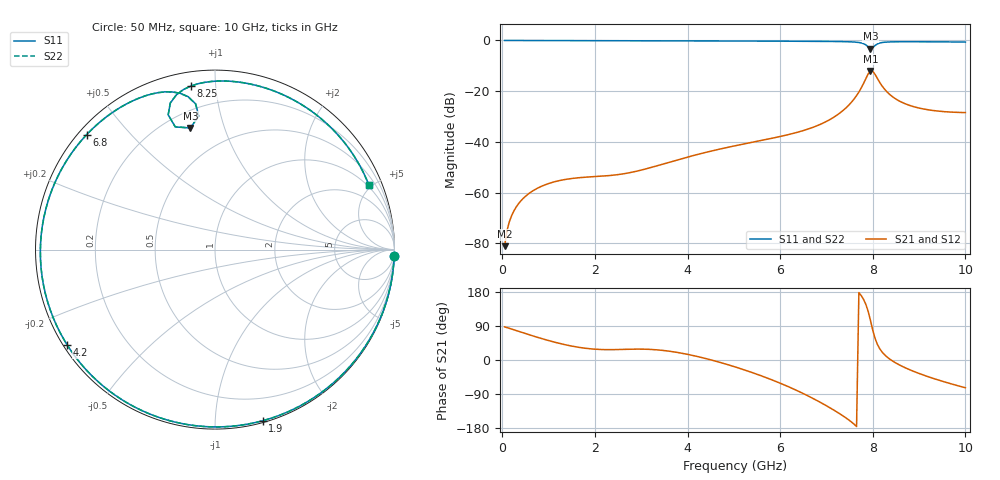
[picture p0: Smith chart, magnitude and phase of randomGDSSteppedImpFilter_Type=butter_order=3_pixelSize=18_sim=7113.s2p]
! freq	dB(S11)	phase(S11)	dB(S12)	phase(S12)
!  dB(S21)	phase(S21)	dB(S22)	phase(S22)
!S-par simulation data
#  GHz  S  DB  R 50
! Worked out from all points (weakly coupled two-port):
!   200 points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, 50 MHz to 10 GHz, reference 50 ohm
!   highest |S21| = -12.02 dB at 7.95 GHz (marker M1); lowest = -81.1 dB at 50 MHz (marker M2)
!   lowest |S11| = -3.2 dB at 7.95 GHz (marker M3), VSWR 5.48, Z = 14.9 + j38.7 ohm
!   |S11| at or under -10 dB: nowhere
!   |S22| runs from -3.2 to 0.0 dB; largest |S21 - S12| = 0
!   S11 on the Smith chart (normalised r, x): 50 MHz: 1, -54; 1.9 GHz: 0.01, -1.32; 4.2 GHz: 0.01, -0.29; 6.8 GHz: 0.02, +0.38; 8.25 GHz: 0.07, +0.86; 10 GHz: 0.90, +4.81
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0.05  -0.01 -2.1  -81.09 87.4  -81.09 87.4  -0.01 -2.1
0.1  -0.01 -4.2  -75.09 85.6  -75.09 85.6  -0.01 -4.2
0.2  -0.01 -8.3  -69.11 81.7  -69.11 81.7  -0.01 -8.3
0.5  -0.02 -20.6  -61.44 69.7  -61.44 69.7  -0.02 -20.6
1  -0.05 -40.6  -56.40 51.3  -56.40 51.3  -0.05 -40.6
1.75  -0.08 -69.0  -53.96 31.7  -53.96 31.7  -0.08 -69.0
1.9  -0.09 -74.4  -53.77 29.5  -53.77 29.5  -0.09 -74.4
2.6  -0.11 -98.5  -52.62 27.9  -52.62 27.9  -0.11 -98.5
3.4  -0.14 -123.7  -49.09 26.1  -49.09 26.1  -0.14 -123.7
4.2  -0.18 -147.1  -45.01 9.6  -45.01 9.6  -0.18 -147.1
5.05  -0.22 -171.0  -41.42 -19.1  -41.42 -19.1  -0.22 -171.0
5.9  -0.27 165.0  -38.26 -56.2  -38.26 -56.2  -0.27 165.1
6.7  -0.34 141.3  -34.30 -100.8  -34.30 -100.8  -0.34 141.4
6.8  -0.36 138.2  -33.59 -107.3  -33.59 -107.3  -0.36 138.2
7.5  -0.54 114.1  -25.15 -159.8  -25.15 -159.8  -0.54 114.1
7.8  -1.27 99.9  -16.98 160.1  -16.98 160.1  -1.26 100.0
7.95  -3.21 101.4  -12.02 104.5  -12.02 104.5  -3.20 101.5
8.05  -2.00 109.2  -13.40 56.8  -13.40 56.8  -1.99 109.2
8.25  -0.71 98.4  -19.10 14.4  -19.10 14.4  -0.71 98.4
8.35  -0.59 93.4  -21.03 3.9  -21.03 3.9  -0.59 93.5
9.15  -0.53 59.6  -27.20 -42.2  -27.20 -42.2  -0.53 59.6
10  -0.63 22.8  -28.43 -73.3  -28.43 -73.3  -0.63 22.8
